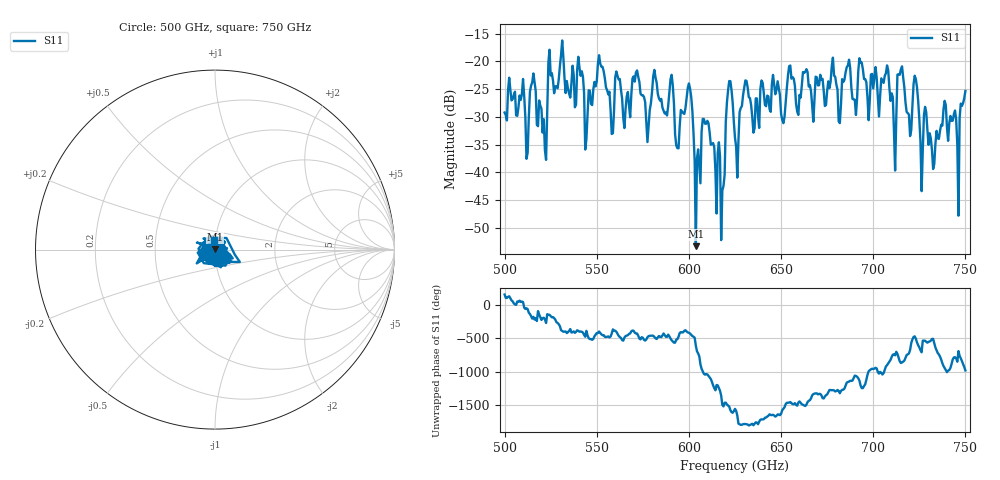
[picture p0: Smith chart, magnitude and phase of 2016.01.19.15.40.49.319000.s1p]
!Created with skrf (http://scikit-rf.org).
# GHz S RI R 50.0
!freq ReS11 ImS11
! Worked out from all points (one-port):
!   401 points, 500 GHz to 750 GHz, reference 50 ohm
!   lowest |S11| = -53.3 dB at 603.8 GHz (marker M1), VSWR 1.00, Z = 49.9 + j0.202 ohm
!   |S11| at or under -10 dB: start of sweep to end of sweep
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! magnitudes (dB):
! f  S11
! 500 GHz  -29.2
! 512.5 GHz  -36.5
! 515.6 GHz  -22.2
! 521.9 GHz  -36.0
! 525 GHz  -22.5
! 531.2 GHz  -16.2
! 544.4 GHz  -34.0
! 551.9 GHz  -20.4
! 558.1 GHz  -33.1
! 562.5 GHz  -23.2
! 590.6 GHz  -22.4
! 593.8 GHz  -35.7
! 600 GHz  -24.0
! 603.8 GHz  -53.3
! 608.8 GHz  -31.2
! 618.1 GHz  -43.3
! 621.9 GHz  -23.5
! 625 GHz  -33.8
! 630.6 GHz  -23.4
! 656.2 GHz  -22.8
! 687.5 GHz  -21.2
! 707.5 GHz  -20.7
! 711.2 GHz  -32.6
! 715 GHz  -21.4
! 718.8 GHz  -29.3
! 723.1 GHz  -23.2
! 732.5 GHz  -39.4
! 750 GHz  -25.3
